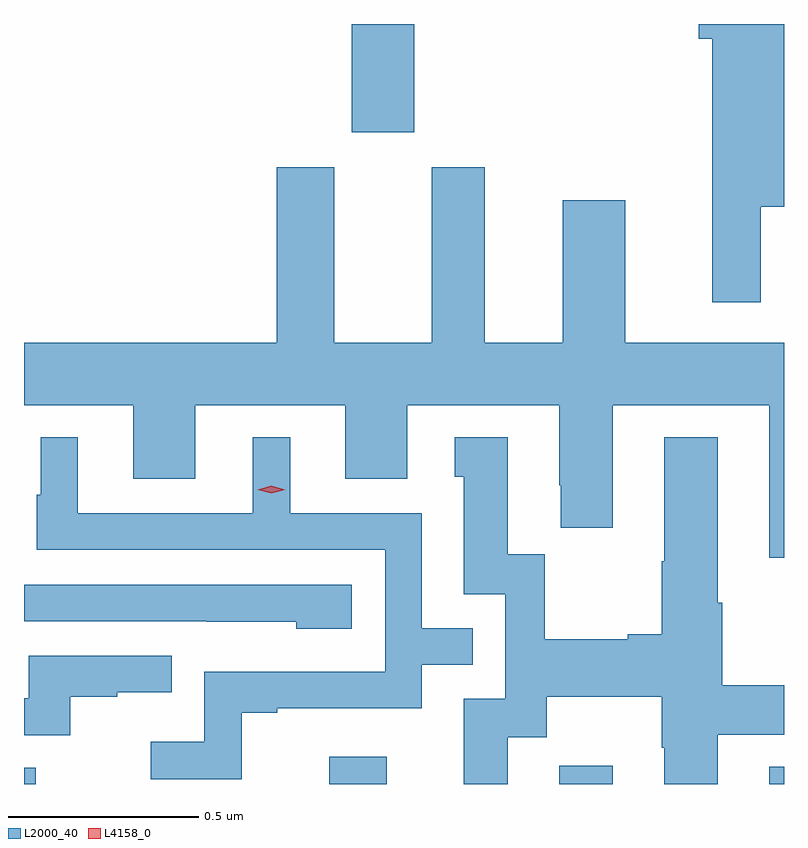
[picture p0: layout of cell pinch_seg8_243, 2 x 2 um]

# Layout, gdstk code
import gdstk
lib = gdstk.Library(unit=1e-6, precision=1e-09)
def R(c, l, rs):  # rectangles x0, y0, x1, y1
    for r in rs: c.add(gdstk.rectangle(r[:2], r[2:], *l))
def P(c, l, *ps):  # polygons
    for p in ps: c.add(gdstk.Polygon(p, *l))
L2000_40 = (2000, 40)
L4158_0 = (4158, 0)

pinch_seg8_243 = lib.new_cell('pinch_seg8_243')
R(pinch_seg8_243, L2000_40, [(786.966,1104.847,786.997,1104.89), (787.769,1104.847,787.921,1104.919), (788.375,1104.847,788.515,1104.895), (788.927,1104.847,788.966,1104.892), (787.829,1106.562,787.993,1106.847)])
P(pinch_seg8_243, L2000_40, [(788.905,1106.366),(788.966,1106.366),(788.966,1106.847),(788.741,1106.847),(788.741,1106.808),(788.777,1106.808),(788.777,1106.115),(788.905,1106.115)],
  [(788.966,1106.008),(788.548,1106.008),(788.548,1106.383),(788.384,1106.383),(788.384,1106.008),(788.179,1106.008),(788.179,1106.47),(788.039,1106.47),(788.039,1106.008),(787.783,1106.008),(787.783,1106.47),(787.631,1106.47),(787.631,1106.008),(786.966,1106.008),(786.966,1105.844),(787.253,1105.844),(787.253,1105.65),(787.417,1105.65),(787.417,1105.844),(787.811,1105.844),(787.811,1105.65),(787.975,1105.65),(787.975,1105.844),(788.375,1105.844),(788.375,1105.633),(788.378,1105.633),(788.378,1105.521),(788.515,1105.521),(788.515,1105.844),(788.927,1105.844),(788.927,1105.443),(788.966,1105.443)],
  [(788.239,1104.97),(788.341,1104.97),(788.341,1105.076),(788.644,1105.076),(788.644,1104.942),(788.651,1104.942),(788.651,1104.847),(788.791,1104.847),(788.791,1104.977),(788.966,1104.977),(788.966,1105.107),(788.804,1105.107),(788.804,1105.324),(788.791,1105.324),(788.791,1105.759),(788.651,1105.759),(788.651,1105.433),(788.644,1105.433),(788.644,1105.241),(788.555,1105.241),(788.555,1105.228),(788.337,1105.228),(788.337,1105.451),(788.239,1105.451),(788.239,1105.759),(788.099,1105.759),(788.099,1105.656),(788.123,1105.656),(788.123,1105.347),(788.232,1105.347),(788.232,1105.071),(788.123,1105.071),(788.123,1104.847),(788.239,1104.847)],
  [(787.539,1105.035),(787.633,1105.035),(787.633,1105.047),(788.013,1105.047),(788.013,1105.161),(788.147,1105.161),(788.147,1105.257),(788.013,1105.257),(788.013,1105.56),(787.666,1105.56),(787.666,1105.759),(787.568,1105.759),(787.568,1105.56),(787.108,1105.56),(787.108,1105.759),(787.01,1105.759),(787.01,1105.608),(786.999,1105.608),(786.999,1105.464),(787.917,1105.464),(787.917,1105.143),(787.44,1105.143),(787.44,1104.958),(787.299,1104.958),(787.299,1104.86),(787.539,1104.86)],
  [(787.828,1105.371),(786.966,1105.371),(786.966,1105.275),(787.447,1105.275),(787.447,1105.274),(787.683,1105.274),(787.683,1105.256),(787.828,1105.256)],
  [(787.088,1105.077),(787.211,1105.077),(787.211,1105.088),(787.355,1105.088),(787.355,1105.185),(786.978,1105.185),(786.978,1105.073),(786.966,1105.073),(786.966,1104.975),(787.088,1104.975)])
P(pinch_seg8_243, L4158_0, [(787.617,1105.612),(787.581,1105.622),(787.581,1105.622),(787.581,1105.622),(787.617,1105.632),(787.653,1105.622),(787.653,1105.622),(787.653,1105.622)])

lib.write_gds('pinch_seg8_243.gds')
